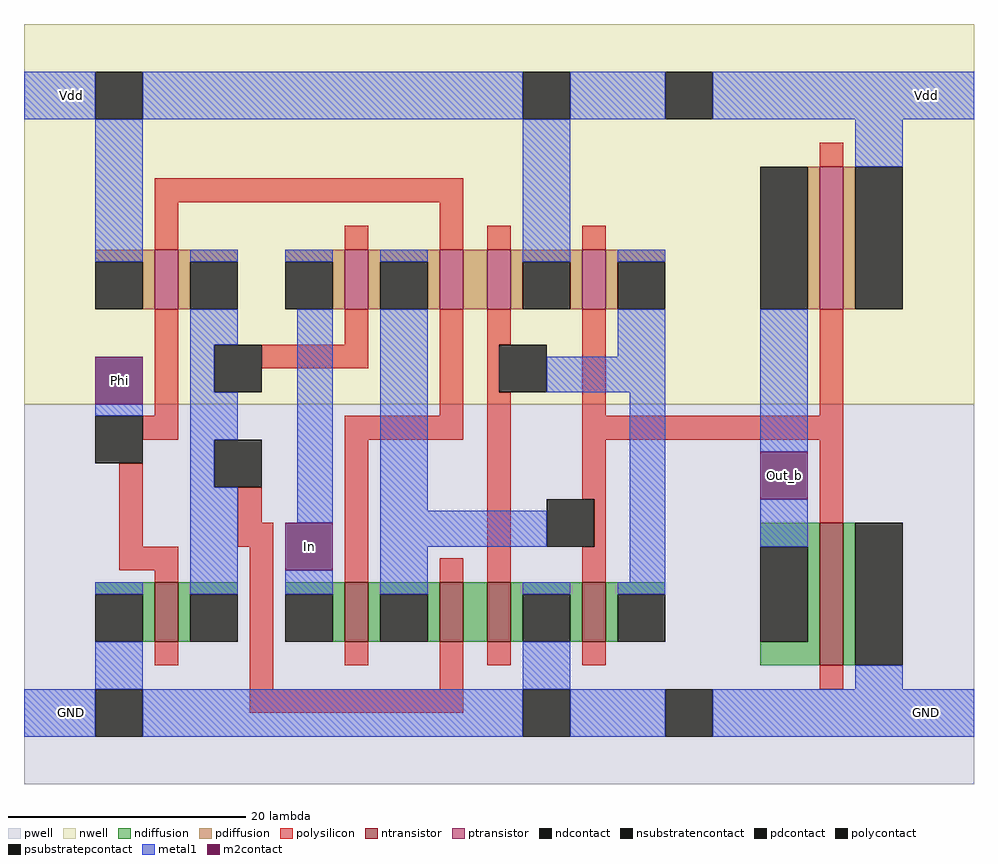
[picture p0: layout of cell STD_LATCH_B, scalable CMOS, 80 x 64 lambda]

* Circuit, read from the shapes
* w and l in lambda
.subckt STD_LATCH_B GND In Out_b Phi Vdd
M1 n1 Phi GND GND nfet w=5 l=2
M2 n2 Phi In GND nfet w=5 l=2
M3 n3 n1 n2 GND nfet w=5 l=2
M4 GND n4 n3 GND nfet w=5 l=2
M5 n4 n2 GND GND nfet w=5 l=2
M6 GND n2 Out_b GND nfet w=12 l=2
M7 n1 Phi Vdd Vdd pfet w=5 l=2
M8 n2 n1 In Vdd pfet w=5 l=2
M9 n5 Phi n2 Vdd pfet w=5 l=2
M10 Vdd n4 n5 Vdd pfet w=5 l=2
M11 n4 n2 Vdd Vdd pfet w=5 l=2
M12 Vdd n2 Out_b Vdd pfet w=12 l=2
.ends

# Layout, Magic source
magic
tech scmos
<< pwell >>
rect 0 0 80 32
<< nwell >>
rect 0 32 80 64
<< polysilicon >>
rect 67 52 69 54
rect 11 49 37 51
rect 11 45 13 49
rect 27 45 29 47
rect 35 45 37 49
rect 39 45 41 47
rect 47 45 49 47
rect 11 31 13 40
rect 27 37 29 40
rect 20 35 29 37
rect 35 31 37 40
rect 10 29 13 31
rect 27 29 37 31
rect 39 37 41 40
rect 39 33 40 37
rect 8 20 10 27
rect 18 22 20 25
rect 18 20 21 22
rect 8 18 13 20
rect 11 17 13 18
rect 11 10 13 12
rect 19 8 21 20
rect 27 17 29 29
rect 35 17 37 19
rect 39 17 41 33
rect 47 31 49 40
rect 67 31 69 40
rect 47 29 69 31
rect 47 24 49 29
rect 48 20 49 24
rect 67 22 69 29
rect 47 17 49 20
rect 27 10 29 12
rect 35 8 37 12
rect 39 10 41 12
rect 47 10 49 12
rect 67 8 69 10
rect 19 6 37 8
<< ndiffusion >>
rect 6 16 11 17
rect 10 12 11 16
rect 13 16 18 17
rect 13 12 14 16
rect 62 20 67 22
rect 22 16 27 17
rect 26 12 27 16
rect 29 16 35 17
rect 29 12 30 16
rect 34 12 35 16
rect 37 12 39 17
rect 41 16 47 17
rect 41 12 42 16
rect 46 12 47 16
rect 49 16 54 17
rect 49 12 50 16
rect 66 12 67 20
rect 62 10 67 12
rect 69 10 70 22
<< pdiffusion >>
rect 6 44 11 45
rect 10 40 11 44
rect 13 44 18 45
rect 13 40 14 44
rect 22 44 27 45
rect 26 40 27 44
rect 29 44 35 45
rect 29 40 30 44
rect 34 40 35 44
rect 37 40 39 45
rect 41 44 47 45
rect 41 40 42 44
rect 46 40 47 44
rect 49 44 54 45
rect 49 40 50 44
rect 66 40 67 52
rect 69 40 70 52
<< metal1 >>
rect 0 56 6 60
rect 10 56 42 60
rect 46 56 54 60
rect 58 56 80 60
rect 6 44 10 56
rect 14 44 18 45
rect 22 44 26 45
rect 14 37 18 40
rect 6 31 10 32
rect 14 33 16 37
rect 14 29 18 33
rect 14 25 16 29
rect 6 16 10 17
rect 14 16 18 25
rect 23 22 26 40
rect 22 16 26 18
rect 30 44 34 45
rect 42 44 46 56
rect 70 52 74 56
rect 50 44 54 45
rect 30 23 34 40
rect 50 36 54 40
rect 44 33 54 36
rect 30 20 44 23
rect 30 16 34 20
rect 51 17 54 33
rect 42 16 46 17
rect 50 16 54 17
rect 62 28 66 40
rect 62 20 66 24
rect 6 8 10 12
rect 42 8 46 12
rect 70 8 74 10
rect 0 4 6 8
rect 10 4 42 8
rect 46 4 54 8
rect 58 4 80 8
<< ntransistor >>
rect 11 12 13 17
rect 27 12 29 17
rect 35 12 37 17
rect 39 12 41 17
rect 47 12 49 17
rect 67 10 69 22
<< ptransistor >>
rect 11 40 13 45
rect 27 40 29 45
rect 35 40 37 45
rect 39 40 41 45
rect 47 40 49 45
rect 67 40 69 52
<< polycontact >>
rect 16 33 20 37
rect 6 27 10 31
rect 40 33 44 37
rect 16 25 20 29
rect 44 20 48 24
<< ndcontact >>
rect 6 12 10 16
rect 14 12 18 16
rect 22 12 26 16
rect 30 12 34 16
rect 42 12 46 16
rect 50 12 54 16
rect 62 12 66 20
rect 70 10 74 22
<< pdcontact >>
rect 6 40 10 44
rect 14 40 18 44
rect 22 40 26 44
rect 30 40 34 44
rect 42 40 46 44
rect 50 40 54 44
rect 62 40 66 52
rect 70 40 74 52
<< m2contact >>
rect 6 32 10 36
rect 22 18 26 22
rect 62 24 66 28
<< psubstratepcontact >>
rect 6 4 10 8
rect 42 4 46 8
rect 54 4 58 8
<< nsubstratencontact >>
rect 6 56 10 60
rect 42 56 46 60
rect 54 56 58 60
<< labels >>
rlabel m2contact 8 34 8 34 6 Phi
rlabel m2contact 64 26 64 26 6 Out_b
rlabel metal1 4 6 4 6 6 GND
rlabel metal1 76 6 76 6 6 GND
rlabel metal1 4 58 4 58 6 Vdd
rlabel metal1 76 58 76 58 6 Vdd
rlabel m2contact 24 20 24 20 6 In
<< end >>
